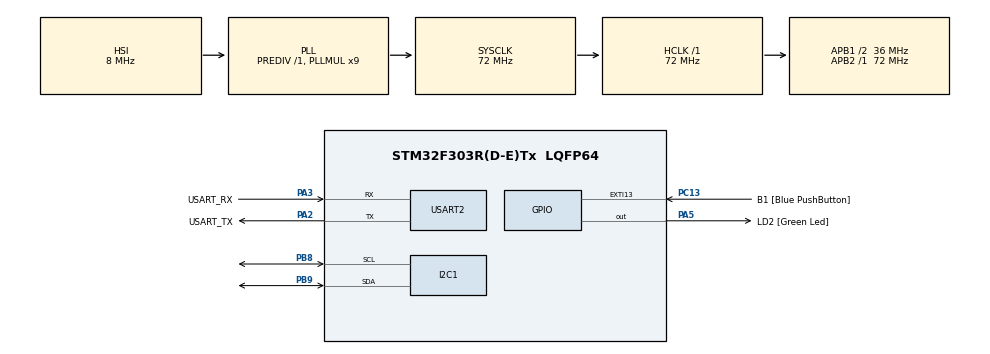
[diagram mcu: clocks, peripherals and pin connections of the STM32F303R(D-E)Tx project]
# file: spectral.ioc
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Mcu.Family=STM32F3
Mcu.Name=STM32F303R(D-E)Tx
Mcu.Package=LQFP64
NVIC.PriorityGroup=NVIC_PRIORITYGROUP_0
PA10.Signal=USART1_RX
PA13.GPIO_Label=TMS
PA13.Mode=Serial_Wire
PA13.Signal=SYS_JTMS-SWDIO
PA14.GPIO_Label=TCK
PA14.Mode=Serial_Wire
PA14.Signal=SYS_JTCK-SWCLK
PA2.GPIO_Label=USART_TX
PA2.GPIO_Mode=GPIO_MODE_AF_PP
PA2.GPIO_PuPd=GPIO_NOPULL
PA2.GPIO_Speed=GPIO_SPEED_FREQ_LOW
PA2.Mode=Asynchronous
PA2.Signal=USART2_TX
PA3.GPIO_Label=USART_RX
PA3.GPIO_Mode=GPIO_MODE_AF_PP
PA3.GPIO_PuPd=GPIO_NOPULL
PA3.GPIO_Speed=GPIO_SPEED_FREQ_LOW
PA3.Mode=Asynchronous
PA3.Signal=USART2_RX
PA5.GPIO_Label=LD2 [Green Led]
PA5.GPIO_Mode=GPIO_MODE_OUTPUT_PP
PA5.GPIO_PuPd=GPIO_NOPULL
PA5.GPIO_Speed=GPIO_SPEED_FREQ_LOW
PA5.Signal=GPIO_Output
PB3.GPIO_Label=SWO
PB3.Signal=SYS_JTDO-TRACESWO
PB8.Mode=I2C
PB8.Signal=I2C1_SCL
PB9.Mode=I2C
PB9.Signal=I2C1_SDA
PC13.GPIO_Label=B1 [Blue PushButton]
PC13.GPIO_ModeDefaultEXTI=GPIO_MODE_IT_FALLING
PC13.Signal=GPXTI13
PC14-OSC32_IN.Mode=LSE-External-Oscillator
PC14-OSC32_IN.Signal=RCC_OSC32_IN
PC15-OSC32_OUT.Mode=LSE-External-Oscillator
PC15-OSC32_OUT.Signal=RCC_OSC32_OUT
PF0-OSC_IN.Mode=HSE-External-Clock-Source
PF0-OSC_IN.Signal=RCC_OSC_IN
PF1-OSC_OUT.Signal=RCC_OSC_OUT
ProjectManager.HeapSize=0x200
ProjectManager.StackSize=0x400
ProjectManager.TargetToolchain=STM32CubeIDE
RCC.AHBFreq_Value=72000000
RCC.APB1CLKDivider=RCC_HCLK_DIV2
RCC.APB1Freq_Value=36000000
RCC.APB1TimFreq_Value=72000000
RCC.APB2Freq_Value=72000000
RCC.APB2TimFreq_Value=72000000
RCC.CortexFreq_Value=72000000
RCC.HCLKFreq_Value=72000000
RCC.HSE_VALUE=8000000
RCC.HSI_VALUE=8000000
RCC.PLLM=8
RCC.PLLMUL=RCC_PLL_MUL9
RCC.PLLN=336
RCC.PLLP=RCC_PLLP_DIV4
RCC.PLLQ=7
RCC.RCC_PLLsource_Clock_Source_FROM_HSE=RCC_HSE_PREDIV_DIV2
RCC.SYSCLKFreq_VALUE=72000000
RCC.SYSCLKSourceVirtual=RCC_SYSCLKSOURCE_PLLCLK
RCC.USBFreq_Value=72000000
USART2.VirtualMode-Asynchronous=VM_ASYNC
board=NUCLEO-F303RE

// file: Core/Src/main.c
/* USER CODE BEGIN Header */
/**
  ******************************************************************************
  * @file           : main.c
  * @brief          : Main program body
  ******************************************************************************
  * @attention
  *
  * <h2><center>&copy; Copyright (c) 2020 STMicroelectronics.
  * All rights reserved.</center></h2>
  *
  * This software component is licensed by ST under BSD 3-Clause license,
  * the "License"; You may not use this file except in compliance with the
  * License. You may obtain a copy of the License at:
  *                        opensource.org/licenses/BSD-3-Clause
  *
  ******************************************************************************
  */
/* USER CODE END Header */

#include "main.h"
#include "smbus.h"
#include <string.h>
#include <stdio.h>
#include <stdlib.h>

/* USER CODE BEGIN PD */
#define CHANNELS 6
/* USER CODE END PD */

I2C_HandleTypeDef hi2c1;
UART_HandleTypeDef huart2;

const int DEV_SEL = 0x4F;

const int I2C_AS72XX_SLAVE_STATUS_REG = 0x00;
const int I2C_AS72XX_SLAVE_WRITE_REG = 0x01;
const int I2C_AS72XX_SLAVE_READ_REG = 0x02;
const int I2C_AS72XX_SLAVE_TX_VALID = 0x02;
const int I2C_AS72XX_SLAVE_RX_VALID = 0x01;

const int DEVICE_SLAVE_ADDRESS_READ = 0x93;
const int DEVICE_SLAVE_ADDRESS_WRITE = 0x92;
const int DEVICE_SLAVE_ADDRESS = 0x49;

// registers for triad
const int RAW_VALUE_RGA_HIGH = 0x08;
const int RAW_VALUE_RGA_LOW = 0x09;

const int RAW_VALUE_SHB_HIGH = 0x0A;
const int RAW_VALUE_SHB_LOW = 0x0B;

const int RAW_VALUE_TIC_HIGH = 0x0C;
const int RAW_VALUE_TIC_LOW = 0x0D;

const int RAW_VALUE_UJD_HIGH = 0x0E;
const int RAW_VALUE_UJD_LOW = 0x0F;

const int RAW_VALUE_VKE_HIGH = 0x10;
const int RAW_VALUE_VKE_LOW = 0x11;

const int RAW_VALUE_WLF_HIGH = 0x12;
const int RAW_VALUE_WLF_LOW = 0x13;

static HAL_StatusTypeDef ret;
uint8_t buf[30];

Bus *i2cBus;

typedef struct {
	uint8_t lsb_register;
	uint8_t msb_register;
	uint16_t color_data;
} Channel;

typedef struct {
	uint8_t dev_register;
	Channel *channels[CHANNELS];
} Device;

void SystemClock_Config(void);
static void MX_GPIO_Init(void);
static void MX_USART2_UART_Init(void);
static void MX_I2C1_Init(void);
/* USER CODE BEGIN PFP */

void virtual_write(uint8_t v_reg, uint8_t data);

uint8_t virtual_read(uint8_t v_reg);

/* USER CODE END PFP */

/* USER CODE BEGIN 0 */

uint8_t virtual_read(uint8_t v_reg) {
	uint8_t status;
	uint8_t d;

	// status = nucleo_byte_read(I2C_AS72XX_SLAVE_STATUS_REG);
	status = read_byte_data(i2cBus, DEVICE_SLAVE_ADDRESS, I2C_AS72XX_SLAVE_STATUS_REG);

	if ((status & I2C_AS72XX_SLAVE_RX_VALID) != 0) {
		// d = nucleo_byte_read(I2C_AS72XX_SLAVE_READ_REG);
		d = read_byte_data(i2cBus, DEVICE_SLAVE_ADDRESS, I2C_AS72XX_SLAVE_READ_REG);
	}

	while(1) {
		// status = nucleo_byte_read(I2C_AS72XX_SLAVE_STATUS_REG);
		status = read_byte_data(i2cBus, DEVICE_SLAVE_ADDRESS, I2C_AS72XX_SLAVE_STATUS_REG);

		if ((status & I2C_AS72XX_SLAVE_TX_VALID) == 0) {
			break;
		}
		HAL_Delay(5); //delay for 5 ms
	}

	// nucleo_byte_write(I2C_AS72XX_SLAVE_WRITE_REG, v_reg);
	write_byte_data(i2cBus, DEVICE_SLAVE_ADDRESS, I2C_AS72XX_SLAVE_WRITE_REG, v_reg);

	while(1) {
		// status = nucleo_byte_read(I2C_AS72XX_SLAVE_STATUS_REG);
		status = read_byte_data(i2cBus, DEVICE_SLAVE_ADDRESS, I2C_AS72XX_SLAVE_STATUS_REG);

		if ((status & I2C_AS72XX_SLAVE_RX_VALID) != 0) {
			break;
		}
		HAL_Delay(5); //delay for 5 ms
	}

	// d = nucleo_byte_read( I2C_AS72XX_SLAVE_READ_REG);

	d = read_byte_data(i2cBus, DEVICE_SLAVE_ADDRESS, I2C_AS72XX_SLAVE_READ_REG);

	return d;
}

void virtual_write(uint8_t v_reg, uint8_t data) {
	uint8_t status;

	while(1) {
		// status = nucleo_byte_read(I2C_AS72XX_SLAVE_STATUS_REG);
		status = read_byte_data(i2cBus, DEVICE_SLAVE_ADDRESS, I2C_AS72XX_SLAVE_STATUS_REG);
		if ((status & I2C_AS72XX_SLAVE_TX_VALID) == 0) {
			break;
		}
		HAL_Delay(5);
	}

	// nucleo_byte_write(I2C_AS72XX_SLAVE_WRITE_REG, (v_reg | 1 << 7));
	write_byte_data(i2cBus, DEVICE_SLAVE_ADDRESS, I2C_AS72XX_SLAVE_WRITE_REG, (v_reg | 1 << 7));

	while(1) {
		status = nucleo_byte_read(I2C_AS72XX_SLAVE_STATUS_REG);
		if ((status & I2C_AS72XX_SLAVE_TX_VALID) == 0) {
			break;
		}
		HAL_Delay(5);
	}

	// nucleo_byte_write(I2C_AS72XX_SLAVE_WRITE_REG, data);
	write_byte_data(i2cBus, DEVICE_SLAVE_ADDRESS, I2C_AS72XX_SLAVE_WRITE_REG, data);
}

uint16_t get_decimal(uint8_t virtual_reg_l, uint8_t virtual_reg_h) {
	uint16_t high = virtual_read(virtual_reg_h) << 8;
	return high | (virtual_read(virtual_reg_l) & 0xFF);
}

Channel* new_channel(uint8_t lsb_r, uint8_t msb_r) {
	Channel* ch = malloc(sizeof(Channel));
	ch->color_data = 0;
	ch->lsb_register = lsb_r;
	ch->msb_register = msb_r;
	return ch;
}

//not the most readable code..
//dev channels start at 0x08 and increase by 8 up until 0x13

Device* new_device(uint8_t dev_register) {
	Device* dev = malloc(sizeof(Device));
	dev->dev_register = dev_register;

	uint8_t START_REG = 0x08; //RAW_VALUE_RGA_LOW;

	for (uint8_t i = 0; i < CHANNELS; ++i) {
		dev->channels[i] = new_channel(START_REG + (2 * i), START_REG + (2 * i) + 1);
	}
	return dev;
}

/* USER CODE END 0 */

int main(void)
{

  /* MCU Configuration--------------------------------------------------------*/

  /* Reset of all peripherals, Initializes the Flash interface and the Systick. */
  HAL_Init();

  /* USER CODE BEGIN Init */

  i2cBus = new_bus(&hi2c1, &huart2);

	uint8_t buf[30];

	Device *triad_dev_1 = new_device(0x00);

	Device *triad_dev_2 = new_device(0x01);

	Device *triad_dev_3 = new_device(0x02);

	Device *triad[3] = { triad_dev_1, triad_dev_2, triad_dev_3 };
  /* USER CODE END Init */

  /* Configure the system clock */
  SystemClock_Config();

  /* Initialize all configured peripherals */
  MX_GPIO_Init();
  MX_USART2_UART_Init();
  MX_I2C1_Init();

  /* Infinite loop */
  /* USER CODE BEGIN WHILE */
  //enable the spectral sensor

  virtual_write(0x04, 0x28);
  virtual_write(0x04, 0x28);
  virtual_write(0x05, 0xFF);

  while (1)
  {
	  // strcpy((char*)buf, "Hello!\r\n");
	  // HAL_UART_Transmit(&huart2, buf, strlen((char*)buf), HAL_MAX_DELAY);
	  // HAL_Delay(500);

	  Channel *channel = new_channel(0, 0);

	  for (uint8_t i = 0; i < 3; ++i) {
		  virtual_write(DEV_SEL, triad[i]->dev_register);
		  for (uint8_t j = 0; j < CHANNELS; ++j) {
			  channel = triad[i]->channels[j];
			  channel->color_data = get_decimal(channel->lsb_register, channel->msb_register);

			  //complicated way to print "channel {x} : {data}"
			  sprintf((char*)buf , "channel %u : %f \r\n", (unsigned int)((i*CHANNELS) + j), (float)channel->color_data);

			  HAL_UART_Transmit(&huart2, buf, strlen((char*)buf), HAL_MAX_DELAY);
			  HAL_Delay(10);
		  }
	  }
	  HAL_Delay(1000);

    /* USER CODE END WHILE */

  }
}

void SystemClock_Config(void)
{
  RCC_OscInitTypeDef RCC_OscInitStruct = {0};
  RCC_ClkInitTypeDef RCC_ClkInitStruct = {0};
  RCC_PeriphCLKInitTypeDef PeriphClkInit = {0};

  /** Initializes the CPU, AHB and APB busses clocks
  */
  RCC_OscInitStruct.OscillatorType = RCC_OSCILLATORTYPE_HSI;
  RCC_OscInitStruct.HSIState = RCC_HSI_ON;
  RCC_OscInitStruct.HSICalibrationValue = RCC_HSICALIBRATION_DEFAULT;
  RCC_OscInitStruct.PLL.PLLState = RCC_PLL_ON;
  RCC_OscInitStruct.PLL.PLLSource = RCC_PLLSOURCE_HSI;
  RCC_OscInitStruct.PLL.PLLMUL = RCC_PLL_MUL9;
  RCC_OscInitStruct.PLL.PREDIV = RCC_PREDIV_DIV1;
  if (HAL_RCC_OscConfig(&RCC_OscInitStruct) != HAL_OK)
  {
    Error_Handler();
  }
  /** Initializes the CPU, AHB and APB busses clocks
  */
  RCC_ClkInitStruct.ClockType = RCC_CLOCKTYPE_HCLK|RCC_CLOCKTYPE_SYSCLK
                              |RCC_CLOCKTYPE_PCLK1|RCC_CLOCKTYPE_PCLK2;
  RCC_ClkInitStruct.SYSCLKSource = RCC_SYSCLKSOURCE_PLLCLK;
  RCC_ClkInitStruct.AHBCLKDivider = RCC_SYSCLK_DIV1;
  RCC_ClkInitStruct.APB1CLKDivider = RCC_HCLK_DIV2;
  RCC_ClkInitStruct.APB2CLKDivider = RCC_HCLK_DIV1;

  if (HAL_RCC_ClockConfig(&RCC_ClkInitStruct, FLASH_LATENCY_2) != HAL_OK)
  {
    Error_Handler();
  }
  PeriphClkInit.PeriphClockSelection = RCC_PERIPHCLK_USART2|RCC_PERIPHCLK_I2C1;
  PeriphClkInit.Usart2ClockSelection = RCC_USART2CLKSOURCE_PCLK1;
  PeriphClkInit.I2c1ClockSelection = RCC_I2C1CLKSOURCE_HSI;
  if (HAL_RCCEx_PeriphCLKConfig(&PeriphClkInit) != HAL_OK)
  {
    Error_Handler();
  }
}

static void MX_I2C1_Init(void)
{

  hi2c1.Instance = I2C1;
  hi2c1.Init.Timing = 0x2000090E;
  hi2c1.Init.OwnAddress1 = 0;
  hi2c1.Init.AddressingMode = I2C_ADDRESSINGMODE_7BIT;
  hi2c1.Init.DualAddressMode = I2C_DUALADDRESS_DISABLE;
  hi2c1.Init.OwnAddress2 = 0;
  hi2c1.Init.OwnAddress2Masks = I2C_OA2_NOMASK;
  hi2c1.Init.GeneralCallMode = I2C_GENERALCALL_DISABLE;
  hi2c1.Init.NoStretchMode = I2C_NOSTRETCH_DISABLE;
  if (HAL_I2C_Init(&hi2c1) != HAL_OK)
  {
    Error_Handler();
  }
  /** Configure Analogue filter
  */
  if (HAL_I2CEx_ConfigAnalogFilter(&hi2c1, I2C_ANALOGFILTER_ENABLE) != HAL_OK)
  {
    Error_Handler();
  }
  /** Configure Digital filter
  */
  if (HAL_I2CEx_ConfigDigitalFilter(&hi2c1, 0) != HAL_OK)
  {
    Error_Handler();
  }

}

static void MX_USART2_UART_Init(void)
{

  huart2.Instance = USART2;
  huart2.Init.BaudRate = 38400;
  huart2.Init.WordLength = UART_WORDLENGTH_8B;
  huart2.Init.StopBits = UART_STOPBITS_1;
  huart2.Init.Parity = UART_PARITY_NONE;
  huart2.Init.Mode = UART_MODE_TX_RX;
  huart2.Init.HwFlowCtl = UART_HWCONTROL_NONE;
  huart2.Init.OverSampling = UART_OVERSAMPLING_16;
  huart2.Init.OneBitSampling = UART_ONE_BIT_SAMPLE_DISABLE;
  huart2.AdvancedInit.AdvFeatureInit = UART_ADVFEATURE_NO_INIT;
  if (HAL_UART_Init(&huart2) != HAL_OK)
  {
    Error_Handler();
  }

}

static void MX_GPIO_Init(void)
{
  GPIO_InitTypeDef GPIO_InitStruct = {0};

  /* GPIO Ports Clock Enable */
  __HAL_RCC_GPIOC_CLK_ENABLE();
  __HAL_RCC_GPIOF_CLK_ENABLE();
  __HAL_RCC_GPIOA_CLK_ENABLE();
  __HAL_RCC_GPIOB_CLK_ENABLE();

  /*Configure GPIO pin Output Level */
  HAL_GPIO_WritePin(LD2_GPIO_Port, LD2_Pin, GPIO_PIN_RESET);

  /*Configure GPIO pin : B1_Pin */
  GPIO_InitStruct.Pin = B1_Pin;
  GPIO_InitStruct.Mode = GPIO_MODE_IT_FALLING;
  GPIO_InitStruct.Pull = GPIO_NOPULL;
  HAL_GPIO_Init(B1_GPIO_Port, &GPIO_InitStruct);

  /*Configure GPIO pin : LD2_Pin */
  GPIO_InitStruct.Pin = LD2_Pin;
  GPIO_InitStruct.Mode = GPIO_MODE_OUTPUT_PP;
  GPIO_InitStruct.Pull = GPIO_NOPULL;
  GPIO_InitStruct.Speed = GPIO_SPEED_FREQ_LOW;
  HAL_GPIO_Init(LD2_GPIO_Port, &GPIO_InitStruct);

  /*Configure GPIO pin : PA10 */
  GPIO_InitStruct.Pin = GPIO_PIN_10;
  GPIO_InitStruct.Mode = GPIO_MODE_AF_PP;
  GPIO_InitStruct.Pull = GPIO_NOPULL;
  GPIO_InitStruct.Speed = GPIO_SPEED_FREQ_HIGH;
  GPIO_InitStruct.Alternate = GPIO_AF7_USART1;
  HAL_GPIO_Init(GPIOA, &GPIO_InitStruct);

}

void Error_Handler(void)
{
}

/************************ (C) COPYRIGHT STMicroelectronics *****END OF FILE****/
